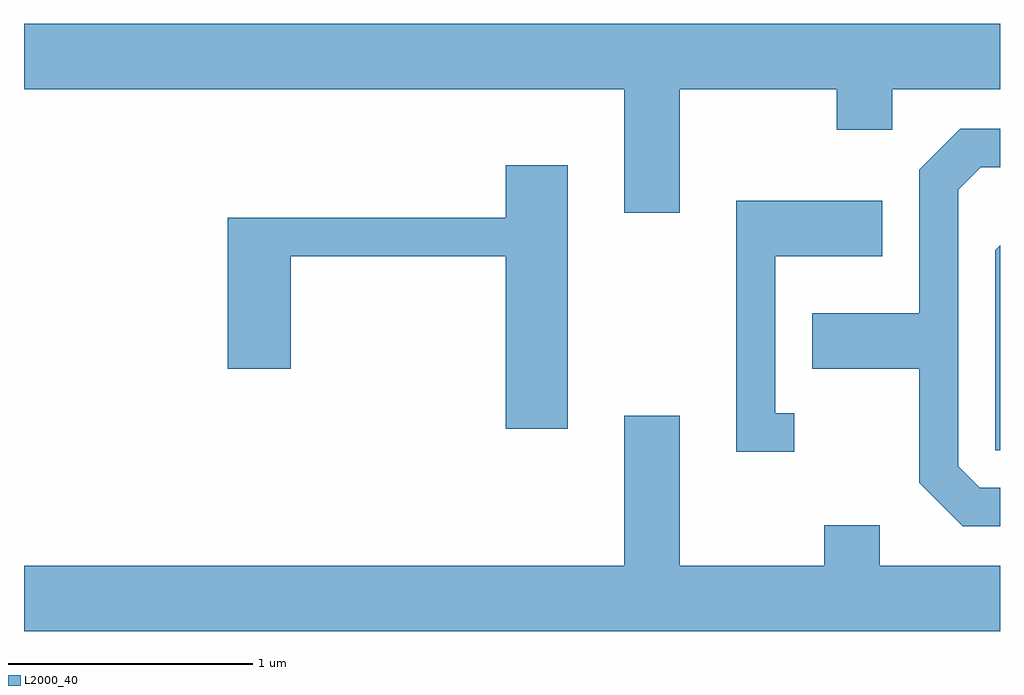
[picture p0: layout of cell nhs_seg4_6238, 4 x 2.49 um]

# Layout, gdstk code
import gdstk
lib = gdstk.Library(unit=1e-6, precision=1e-09)
def P(c, l, *ps):  # polygons
    for p in ps: c.add(gdstk.Polygon(p, *l))
L2000_40 = (2000, 40)

nhs_seg4_6238 = lib.new_cell('nhs_seg4_6238')
P(nhs_seg4_6238, L2000_40, [(370.299,1356.896),(370.941,1356.896),(370.941,1356.731),(371.169,1356.731),(371.169,1356.896),(371.611,1356.896),(371.611,1357.164),(367.611,1357.164),(367.611,1356.896),(370.071,1356.896),(370.071,1356.391),(370.299,1356.391)],
  [(371.611,1355.264),(371.527,1355.264),(371.439,1355.352),(371.439,1356.484),(371.532,1356.576),(371.611,1356.576),(371.611,1356.734),(371.449,1356.734),(371.281,1356.567),(371.281,1355.979),(370.841,1355.979),(370.841,1355.751),(371.281,1355.751),(371.281,1355.284),(371.459,1355.106),(371.611,1355.106)],
  [(369.839,1356.584),(369.586,1356.584),(369.586,1356.369),(368.446,1356.369),(368.446,1355.751),(368.704,1355.751),(368.704,1356.211),(369.586,1356.211),(369.586,1355.506),(369.839,1355.506)],
  [(370.768,1355.569),(370.689,1355.569),(370.689,1356.211),(371.129,1356.211),(371.129,1356.439),(370.531,1356.439),(370.531,1355.411),(370.768,1355.411)],
  [(371.611,1356.257),(371.591,1356.237),(371.591,1355.416),(371.611,1355.416)],
  [(371.611,1354.944),(371.119,1354.944),(371.119,1355.109),(370.891,1355.109),(370.891,1354.944),(370.299,1354.944),(370.299,1355.559),(370.071,1355.559),(370.071,1354.944),(367.611,1354.944),(367.611,1354.676),(371.611,1354.676)])

lib.write_gds('nhs_seg4_6238.gds')
